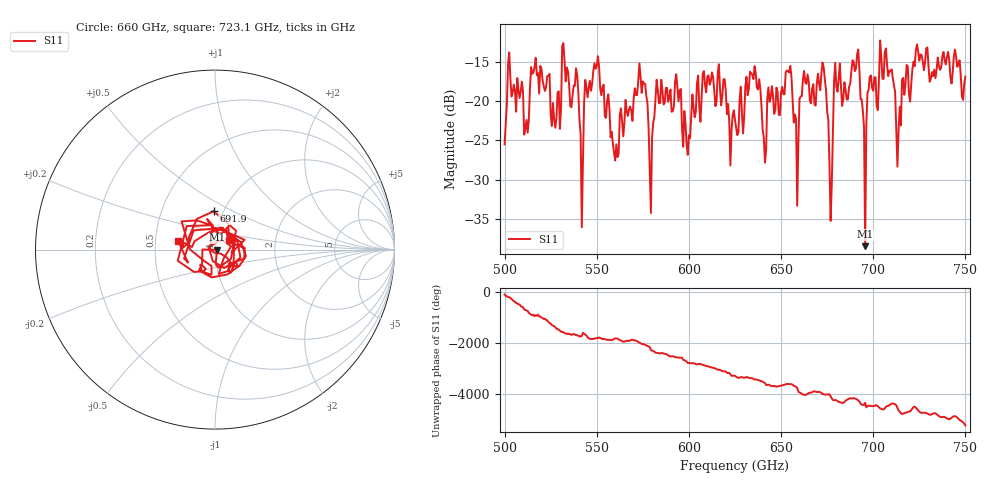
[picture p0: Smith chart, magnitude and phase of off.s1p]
!Created with skrf (http://scikit-rf.org).
# GHz S RI R 50.0
!freq ReS11 ImS11
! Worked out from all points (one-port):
!   401 points, 500 GHz to 750 GHz, reference 50 ohm
!   lowest |S11| = -38.5 dB at 695.6 GHz (marker M1), VSWR 1.02, Z = 51.2 - j0.0896 ohm
!   |S11| at or under -10 dB: start of sweep to end of sweep
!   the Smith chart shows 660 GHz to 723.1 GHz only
!   S11 on the Smith chart (normalised r, x): 660 GHz: 1.17, +0.14; 691.9 GHz: 0.90, +0.40; 723.1 GHz: 0.66, +0.07
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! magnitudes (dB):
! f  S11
! 500 GHz  -25.5
! 503.1 GHz  -17.1
! 511.9 GHz  -22.4
! 515.6 GHz  -16.4
! 531.2 GHz  -13.0
! 538.8 GHz  -15.8
! 541.9 GHz  -36.1
! 550 GHz  -15.5
! 562.5 GHz  -21.7
! 574.4 GHz  -18.9
! 579.4 GHz  -34.2
! 593.8 GHz  -18.3
! 599.4 GHz  -26.8
! 608.8 GHz  -17.9
! 625 GHz  -22.4
! 656.2 GHz  -19.9
! 660 GHz  -19.7
! 673.1 GHz  -15.7
! 676.9 GHz  -35.2
! 680 GHz  -18.2
! 687.5 GHz  -17.8
! 691.9 GHz  -13.4
! 695.6 GHz  -38.5
! 705 GHz  -17.2
! 713.8 GHz  -23.7
! 718.8 GHz  -15.6
! 723.1 GHz  -13.5
! 750 GHz  -16.9
